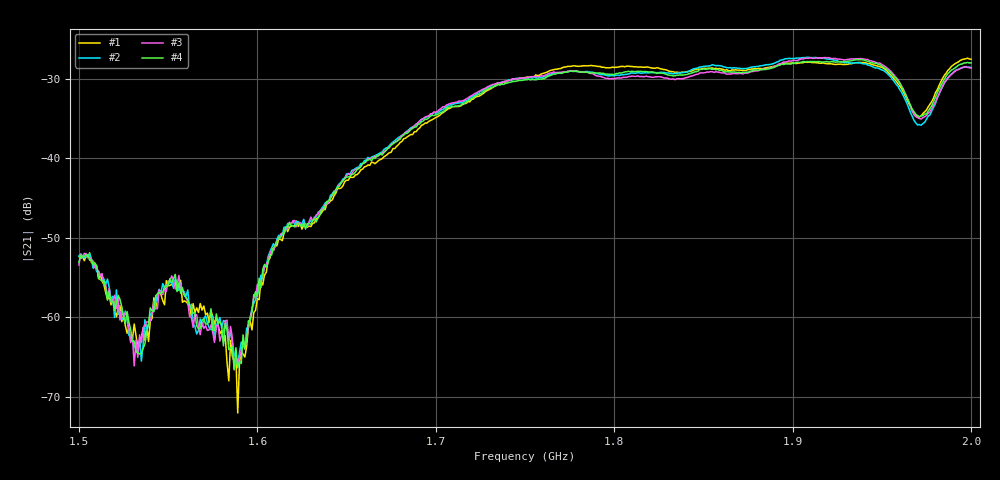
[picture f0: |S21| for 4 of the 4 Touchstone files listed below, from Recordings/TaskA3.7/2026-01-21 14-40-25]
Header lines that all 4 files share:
! NanoVNA-App by SYSJOINT et al v1.1.209 (+OD18)
! Start: 1,5GHz Stop: 2GHz Points: 501
! S-Parameter data: F S11 S21 S12 S22
# Hz S RI R 50
!  Frequency  S11_Real  S11_Imag  S21_Real  S21_Imag  S12_Real  S12_Imag  S22_Real  S22_Imag
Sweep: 1.5 GHz to 2 GHz
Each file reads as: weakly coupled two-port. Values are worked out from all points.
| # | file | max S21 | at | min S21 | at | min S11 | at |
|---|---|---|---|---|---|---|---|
| 1 | 0.s2p | -27.43 dB | 1.998 GHz | -72.0 dB | 1.589 GHz | -29.7 dB | 1.817 GHz |
| 2 | 1.s2p | -27.31 dB | 1.908 GHz | -65.9 dB | 1.589 GHz | -30.0 dB | 1.817 GHz |
| 3 | 2.s2p | -27.34 dB | 1.918 GHz | -66.6 dB | 1.587 GHz | -30.0 dB | 1.817 GHz |
| 4 | 3.s2p | -27.60 dB | 1.938 GHz | -66.5 dB | 1.587 GHz | -30.4 dB | 1.817 GHz |
